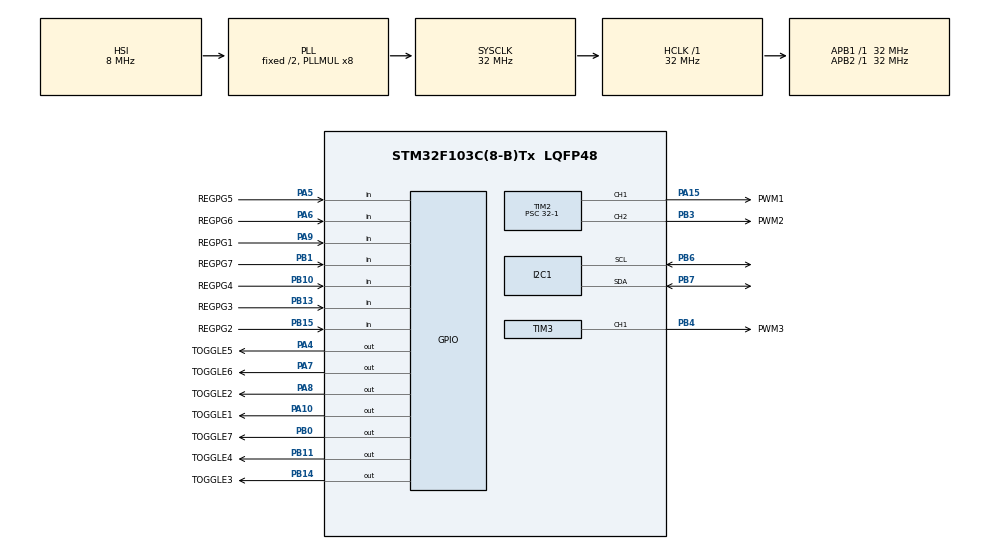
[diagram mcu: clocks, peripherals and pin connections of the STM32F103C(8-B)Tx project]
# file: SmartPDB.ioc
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I2C1.I2C_Mode=I2C_Standard
I2C1.OwnAddress=33
Mcu.Family=STM32F1
Mcu.Name=STM32F103C(8-B)Tx
Mcu.Package=LQFP48
NVIC.I2C1_ER_IRQn=true\:0\:0\:false\:false\:true\:true\:true\:true
NVIC.I2C1_EV_IRQn=true\:0\:0\:false\:false\:true\:true\:true\:true
NVIC.PriorityGroup=NVIC_PRIORITYGROUP_4
PA10.GPIO_Label=TOGGLE1
PA10.Signal=GPIO_Output
PA13.Mode=Serial_Wire
PA13.Signal=SYS_JTMS-SWDIO
PA14.Mode=Serial_Wire
PA14.Signal=SYS_JTCK-SWCLK
PA15.GPIO_Label=PWM1
PA15.Signal=S_TIM2_CH1_ETR
PA4.GPIO_Label=TOGGLE5
PA4.Signal=GPIO_Output
PA5.GPIO_Label=REGPG5
PA5.Signal=GPIO_Input
PA6.GPIO_Label=REGPG6
PA6.Signal=GPIO_Input
PA7.GPIO_Label=TOGGLE6
PA7.Signal=GPIO_Output
PA8.GPIO_Label=TOGGLE2
PA8.Signal=GPIO_Output
PA9.GPIO_Label=REGPG1
PA9.Signal=GPIO_Input
PB0.GPIO_Label=TOGGLE7
PB0.Signal=GPIO_Output
PB1.GPIO_Label=REGPG7
PB1.Signal=GPIO_Input
PB10.GPIO_Label=REGPG4
PB10.Signal=GPIO_Input
PB11.GPIO_Label=TOGGLE4
PB11.Signal=GPIO_Output
PB13.GPIO_Label=REGPG3
PB13.Signal=GPIO_Input
PB14.GPIO_Label=TOGGLE3
PB14.Signal=GPIO_Output
PB15.GPIO_Label=REGPG2
PB15.Signal=GPIO_Input
PB3.GPIO_Label=PWM2
PB3.Signal=S_TIM2_CH2
PB4.GPIO_Label=PWM3
PB4.Signal=S_TIM3_CH1
PB6.Mode=I2C
PB6.Signal=I2C1_SCL
PB7.Mode=I2C
PB7.Signal=I2C1_SDA
ProjectManager.HeapSize=0x200
ProjectManager.StackSize=0x400
ProjectManager.TargetToolchain=STM32CubeIDE
RCC.AHBFreq_Value=32000000
RCC.APB1Freq_Value=32000000
RCC.APB1TimFreq_Value=32000000
RCC.APB2Freq_Value=32000000
RCC.APB2TimFreq_Value=32000000
RCC.HCLKFreq_Value=32000000
RCC.PLLMUL=RCC_PLL_MUL8
RCC.SYSCLKFreq_VALUE=32000000
RCC.SYSCLKSource=RCC_SYSCLKSOURCE_PLLCLK
RCC.USBFreq_Value=32000000
SH.S_TIM2_CH1_ETR.0=TIM2_CH1,PWM Generation1 CH1
SH.S_TIM2_CH2.0=TIM2_CH2,PWM Generation2 CH2
SH.S_TIM3_CH1.0=TIM3_CH1,PWM Generation1 CH1
TIM2.Channel-PWM\ Generation1\ CH1=TIM_CHANNEL_1
TIM2.Channel-PWM\ Generation2\ CH2=TIM_CHANNEL_2
TIM2.Period=10000-1
TIM2.Prescaler=32-1
TIM3.Channel-PWM\ Generation1\ CH1=TIM_CHANNEL_1
TIM3.Period=10000-1
TIM3.Prescaler=32-1
board=custom

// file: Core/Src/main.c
/* USER CODE BEGIN Header */
/**
  ******************************************************************************
  * @file           : main.c
  * @brief          : Main program body
  ******************************************************************************
  * @attention
  *
  * Copyright (c) 2026 STMicroelectronics.
  * All rights reserved.
  *
  * This software is licensed under terms that can be found in the LICENSE file
  * in the root directory of this software component.
  * If no LICENSE file comes with this software, it is provided AS-IS.
  *
  ******************************************************************************
  */
/* USER CODE END Header */
#include "main.h"

/* USER CODE BEGIN Includes */
#include <string.h>
/* USER CODE END Includes */

/* USER CODE BEGIN PD */

#define SERVO1_HIGH 0x00
#define SERVO1_LOW  0x01
#define SERVO2_HIGH 0x02
#define SERVO2_LOW  0x03
#define SERVO3_HIGH 0x04
#define SERVO3_LOW  0x05
#define SERVO4_HIGH 0x06
#define SERVO4_LOW  0x07
#define TOGGLE      0x08
#define REGPG       0x09

#define MAX_TRANSFER 10
#define NUM_REGISTERS 10

/* USER CODE END PD */

I2C_HandleTypeDef hi2c1;

TIM_HandleTypeDef htim2;
TIM_HandleTypeDef htim3;

/* USER CODE BEGIN PV */

uint8_t REGISTERS[NUM_REGISTERS] = {
  0x05, // SERVO1_HIGH
  0xDC, // SERVO1_LOW
  0x05, // SERVO2_HIGH
  0xDC, // SERVO2_LOW
  0x05, // SERVO3_HIGH
  0xDC, // SERVO3_LOW
  0x05, // SERVO4_HIGH
  0xDC, // SERVO4_LOW
  0x00, // TOGGLE
  0x00  // REGPG
};

uint8_t RxData[MAX_TRANSFER];
uint8_t RxLen = 0;
uint8_t TxLen = 0;
uint8_t TxReg = 0;

/* USER CODE END PV */

void SystemClock_Config(void);
static void MX_GPIO_Init(void);
static void MX_I2C1_Init(void);
static void MX_TIM2_Init(void);
static void MX_TIM3_Init(void);
/* USER CODE BEGIN PFP */

void WriteRegs();
void WriteServos();
void WritePins();

/* USER CODE END PFP */

/* USER CODE BEGIN 0 */

void HAL_I2C_ListenCpltCallback(I2C_HandleTypeDef *hi2c)
{
  HAL_I2C_EnableListen_IT(hi2c);
}

void HAL_I2C_AddrCallback(I2C_HandleTypeDef *hi2c, uint8_t TransferDirection, uint16_t AddrMatchCode)
{
  if(TransferDirection == I2C_DIRECTION_TRANSMIT)  // if the master wants to transmit the data
  {
	RxData[0] = 0;
	RxLen = 0;
	TxLen = 0;
    HAL_I2C_Slave_Seq_Receive_IT(hi2c, RxData, 1, I2C_FIRST_FRAME);
  }else {
	TxLen = 0;
	TxReg = RxData[0];
	RxData[0] = 0;
	HAL_I2C_Slave_Seq_Transmit_IT(hi2c, REGISTERS + TxReg, 1, I2C_FIRST_FRAME);
  }
}

void HAL_I2C_SlaveRxCpltCallback(I2C_HandleTypeDef *hi2c)
{
  RxLen++;
  if (RxLen < MAX_TRANSFER)
  {
	if (RxLen == MAX_TRANSFER-1)
	{
	  HAL_I2C_Slave_Seq_Receive_IT(hi2c, RxData + RxLen, 1, I2C_LAST_FRAME);
	}else {
      HAL_I2C_Slave_Seq_Receive_IT(hi2c, RxData + RxLen, 1, I2C_NEXT_FRAME);
	}
  }

  if (RxLen == MAX_TRANSFER)
  {
	WriteRegs();
	HAL_I2C_EnableListen_IT(hi2c);
  }
}

void HAL_I2C_SlaveTxCpltCallback(I2C_HandleTypeDef *hi2c)
{
  TxLen++;
  HAL_I2C_Slave_Seq_Transmit_IT(hi2c, REGISTERS + TxReg + TxLen, 1, I2C_NEXT_FRAME);
}

void HAL_I2C_ErrorCallback(I2C_HandleTypeDef *hi2c)
{
  uint32_t errorcode = HAL_I2C_GetError(hi2c);

  if (errorcode & HAL_I2C_ERROR_AF) // Normal behaviour, transaction was less than MAX_TRANSFER bytes
  {
	if (TxLen == 0) {
	  WriteRegs();
	  RxLen = 0;
	}else {
	  TxLen = 0;
	}
  }
  if (errorcode & HAL_I2C_ERROR_BERR)
  {
  	HAL_I2C_DeInit(hi2c);
  	HAL_I2C_Init(hi2c);
  	memset(RxData,'\0',MAX_TRANSFER);
  	RxLen = 0;
  	TxLen = 0;
  }

  HAL_I2C_EnableListen_IT(hi2c);
}

void WriteRegs()
{
  uint8_t reg = RxData[0];

  if (reg + RxLen - 1 > NUM_REGISTERS) {
	return; // Ignore writes beyond the end of address space
  }

  for (int i = 0; i < RxLen - 1; i++)
  {
	REGISTERS[reg++] = RxData[i + 1];
  }

  WriteServos();
  WritePins();
}

void WriteServos() {
  TIM2->CCR1 = REGISTERS[SERVO1_HIGH] << 8 | REGISTERS[SERVO1_LOW];
  TIM2->CCR2 = REGISTERS[SERVO2_HIGH] << 8 | REGISTERS[SERVO2_LOW];
  TIM3->CCR1 = REGISTERS[SERVO3_HIGH] << 8 | REGISTERS[SERVO3_LOW];
}

void WritePins() {
  HAL_GPIO_WritePin(TOGGLE1_GPIO_Port, TOGGLE1_Pin, REGISTERS[TOGGLE] & 0b00000001);
  HAL_GPIO_WritePin(TOGGLE2_GPIO_Port, TOGGLE2_Pin, REGISTERS[TOGGLE] & 0b00000010);
  HAL_GPIO_WritePin(TOGGLE3_GPIO_Port, TOGGLE3_Pin, REGISTERS[TOGGLE] & 0b00000100);
  HAL_GPIO_WritePin(TOGGLE4_GPIO_Port, TOGGLE4_Pin, REGISTERS[TOGGLE] & 0b00001000);
  HAL_GPIO_WritePin(TOGGLE5_GPIO_Port, TOGGLE5_Pin, REGISTERS[TOGGLE] & 0b00010000);
  HAL_GPIO_WritePin(TOGGLE6_GPIO_Port, TOGGLE6_Pin, REGISTERS[TOGGLE] & 0b00100000);
  HAL_GPIO_WritePin(TOGGLE7_GPIO_Port, TOGGLE7_Pin, REGISTERS[TOGGLE] & 0b01000000);
}

/* USER CODE END 0 */

int main(void)
{

  /* MCU Configuration--------------------------------------------------------*/

  /* Reset of all peripherals, Initializes the Flash interface and the Systick. */
  HAL_Init();

  /* Configure the system clock */
  SystemClock_Config();

  /* Initialize all configured peripherals */
  MX_GPIO_Init();
  MX_I2C1_Init();
  MX_TIM2_Init();
  MX_TIM3_Init();
  /* USER CODE BEGIN 2 */
  HAL_TIM_PWM_Start(&htim2, TIM_CHANNEL_1);
  HAL_TIM_PWM_Start(&htim2, TIM_CHANNEL_2);
  HAL_TIM_PWM_Start(&htim3, TIM_CHANNEL_1);
  WriteServos();

  HAL_I2C_EnableListen_IT(&hi2c1);
  /* USER CODE END 2 */

  /* Infinite loop */
  /* USER CODE BEGIN WHILE */
  while (1)
  {
	// Read PG - probably a better way to do this
	HAL_Delay(10);

	REGISTERS[REGPG] = (HAL_GPIO_ReadPin(REGPG1_GPIO_Port, REGPG1_Pin)) |
		               (HAL_GPIO_ReadPin(REGPG2_GPIO_Port, REGPG2_Pin) << 1) |
                       (HAL_GPIO_ReadPin(REGPG3_GPIO_Port, REGPG3_Pin) << 2) |
                       (HAL_GPIO_ReadPin(REGPG4_GPIO_Port, REGPG4_Pin) << 3) |
                       (HAL_GPIO_ReadPin(REGPG5_GPIO_Port, REGPG5_Pin) << 4) |
                       (HAL_GPIO_ReadPin(REGPG6_GPIO_Port, REGPG6_Pin) << 5) |
                       (HAL_GPIO_ReadPin(REGPG7_GPIO_Port, REGPG7_Pin) << 6);
    /* USER CODE END WHILE */

  }
}

void SystemClock_Config(void)
{
  RCC_OscInitTypeDef RCC_OscInitStruct = {0};
  RCC_ClkInitTypeDef RCC_ClkInitStruct = {0};

  /** Initializes the RCC Oscillators according to the specified parameters
  * in the RCC_OscInitTypeDef structure.
  */
  RCC_OscInitStruct.OscillatorType = RCC_OSCILLATORTYPE_HSI;
  RCC_OscInitStruct.HSIState = RCC_HSI_ON;
  RCC_OscInitStruct.HSICalibrationValue = RCC_HSICALIBRATION_DEFAULT;
  RCC_OscInitStruct.PLL.PLLState = RCC_PLL_ON;
  RCC_OscInitStruct.PLL.PLLSource = RCC_PLLSOURCE_HSI_DIV2;
  RCC_OscInitStruct.PLL.PLLMUL = RCC_PLL_MUL8;
  if (HAL_RCC_OscConfig(&RCC_OscInitStruct) != HAL_OK)
  {
    Error_Handler();
  }

  /** Initializes the CPU, AHB and APB buses clocks
  */
  RCC_ClkInitStruct.ClockType = RCC_CLOCKTYPE_HCLK|RCC_CLOCKTYPE_SYSCLK
                              |RCC_CLOCKTYPE_PCLK1|RCC_CLOCKTYPE_PCLK2;
  RCC_ClkInitStruct.SYSCLKSource = RCC_SYSCLKSOURCE_PLLCLK;
  RCC_ClkInitStruct.AHBCLKDivider = RCC_SYSCLK_DIV1;
  RCC_ClkInitStruct.APB1CLKDivider = RCC_HCLK_DIV1;
  RCC_ClkInitStruct.APB2CLKDivider = RCC_HCLK_DIV1;

  if (HAL_RCC_ClockConfig(&RCC_ClkInitStruct, FLASH_LATENCY_1) != HAL_OK)
  {
    Error_Handler();
  }
}

static void MX_I2C1_Init(void)
{

  hi2c1.Instance = I2C1;
  hi2c1.Init.ClockSpeed = 100000;
  hi2c1.Init.DutyCycle = I2C_DUTYCYCLE_2;
  hi2c1.Init.OwnAddress1 = 66;
  hi2c1.Init.AddressingMode = I2C_ADDRESSINGMODE_7BIT;
  hi2c1.Init.DualAddressMode = I2C_DUALADDRESS_DISABLE;
  hi2c1.Init.OwnAddress2 = 0;
  hi2c1.Init.GeneralCallMode = I2C_GENERALCALL_DISABLE;
  hi2c1.Init.NoStretchMode = I2C_NOSTRETCH_DISABLE;
  if (HAL_I2C_Init(&hi2c1) != HAL_OK)
  {
    Error_Handler();
  }

}

static void MX_TIM2_Init(void)
{

  TIM_MasterConfigTypeDef sMasterConfig = {0};
  TIM_OC_InitTypeDef sConfigOC = {0};

  htim2.Instance = TIM2;
  htim2.Init.Prescaler = 32-1;
  htim2.Init.CounterMode = TIM_COUNTERMODE_UP;
  htim2.Init.Period = 10000-1;
  htim2.Init.ClockDivision = TIM_CLOCKDIVISION_DIV1;
  htim2.Init.AutoReloadPreload = TIM_AUTORELOAD_PRELOAD_DISABLE;
  if (HAL_TIM_PWM_Init(&htim2) != HAL_OK)
  {
    Error_Handler();
  }
  sMasterConfig.MasterOutputTrigger = TIM_TRGO_RESET;
  sMasterConfig.MasterSlaveMode = TIM_MASTERSLAVEMODE_DISABLE;
  if (HAL_TIMEx_MasterConfigSynchronization(&htim2, &sMasterConfig) != HAL_OK)
  {
    Error_Handler();
  }
  sConfigOC.OCMode = TIM_OCMODE_PWM1;
  sConfigOC.Pulse = 0;
  sConfigOC.OCPolarity = TIM_OCPOLARITY_HIGH;
  sConfigOC.OCFastMode = TIM_OCFAST_DISABLE;
  if (HAL_TIM_PWM_ConfigChannel(&htim2, &sConfigOC, TIM_CHANNEL_1) != HAL_OK)
  {
    Error_Handler();
  }
  if (HAL_TIM_PWM_ConfigChannel(&htim2, &sConfigOC, TIM_CHANNEL_2) != HAL_OK)
  {
    Error_Handler();
  }
  HAL_TIM_MspPostInit(&htim2);

}

static void MX_TIM3_Init(void)
{

  TIM_MasterConfigTypeDef sMasterConfig = {0};
  TIM_OC_InitTypeDef sConfigOC = {0};

  htim3.Instance = TIM3;
  htim3.Init.Prescaler = 32-1;
  htim3.Init.CounterMode = TIM_COUNTERMODE_UP;
  htim3.Init.Period = 10000-1;
  htim3.Init.ClockDivision = TIM_CLOCKDIVISION_DIV1;
  htim3.Init.AutoReloadPreload = TIM_AUTORELOAD_PRELOAD_DISABLE;
  if (HAL_TIM_PWM_Init(&htim3) != HAL_OK)
  {
    Error_Handler();
  }
  sMasterConfig.MasterOutputTrigger = TIM_TRGO_RESET;
  sMasterConfig.MasterSlaveMode = TIM_MASTERSLAVEMODE_DISABLE;
  if (HAL_TIMEx_MasterConfigSynchronization(&htim3, &sMasterConfig) != HAL_OK)
  {
    Error_Handler();
  }
  sConfigOC.OCMode = TIM_OCMODE_PWM1;
  sConfigOC.Pulse = 0;
  sConfigOC.OCPolarity = TIM_OCPOLARITY_HIGH;
  sConfigOC.OCFastMode = TIM_OCFAST_DISABLE;
  if (HAL_TIM_PWM_ConfigChannel(&htim3, &sConfigOC, TIM_CHANNEL_1) != HAL_OK)
  {
    Error_Handler();
  }
  HAL_TIM_MspPostInit(&htim3);

}

static void MX_GPIO_Init(void)
{
  GPIO_InitTypeDef GPIO_InitStruct = {0};

  /* GPIO Ports Clock Enable */
  __HAL_RCC_GPIOA_CLK_ENABLE();
  __HAL_RCC_GPIOB_CLK_ENABLE();

  /*Configure GPIO pin Output Level */
  HAL_GPIO_WritePin(GPIOA, TOGGLE5_Pin|TOGGLE6_Pin|TOGGLE2_Pin|TOGGLE1_Pin, GPIO_PIN_RESET);

  /*Configure GPIO pin Output Level */
  HAL_GPIO_WritePin(GPIOB, TOGGLE7_Pin|TOGGLE4_Pin|TOGGLE3_Pin, GPIO_PIN_RESET);

  /*Configure GPIO pins : TOGGLE5_Pin TOGGLE6_Pin TOGGLE2_Pin TOGGLE1_Pin */
  GPIO_InitStruct.Pin = TOGGLE5_Pin|TOGGLE6_Pin|TOGGLE2_Pin|TOGGLE1_Pin;
  GPIO_InitStruct.Mode = GPIO_MODE_OUTPUT_PP;
  GPIO_InitStruct.Pull = GPIO_NOPULL;
  GPIO_InitStruct.Speed = GPIO_SPEED_FREQ_LOW;
  HAL_GPIO_Init(GPIOA, &GPIO_InitStruct);

  /*Configure GPIO pins : REGPG5_Pin REGPG6_Pin REGPG1_Pin */
  GPIO_InitStruct.Pin = REGPG5_Pin|REGPG6_Pin|REGPG1_Pin;
  GPIO_InitStruct.Mode = GPIO_MODE_INPUT;
  GPIO_InitStruct.Pull = GPIO_NOPULL;
  HAL_GPIO_Init(GPIOA, &GPIO_InitStruct);

  /*Configure GPIO pins : TOGGLE7_Pin TOGGLE4_Pin TOGGLE3_Pin */
  GPIO_InitStruct.Pin = TOGGLE7_Pin|TOGGLE4_Pin|TOGGLE3_Pin;
  GPIO_InitStruct.Mode = GPIO_MODE_OUTPUT_PP;
  GPIO_InitStruct.Pull = GPIO_NOPULL;
  GPIO_InitStruct.Speed = GPIO_SPEED_FREQ_LOW;
  HAL_GPIO_Init(GPIOB, &GPIO_InitStruct);

  /*Configure GPIO pins : REGPG7_Pin REGPG4_Pin REGPG3_Pin REGPG2_Pin */
  GPIO_InitStruct.Pin = REGPG7_Pin|REGPG4_Pin|REGPG3_Pin|REGPG2_Pin;
  GPIO_InitStruct.Mode = GPIO_MODE_INPUT;
  GPIO_InitStruct.Pull = GPIO_NOPULL;
  HAL_GPIO_Init(GPIOB, &GPIO_InitStruct);

}

void Error_Handler(void)
{
  __disable_irq();
  while (1)
  {
  }
}
